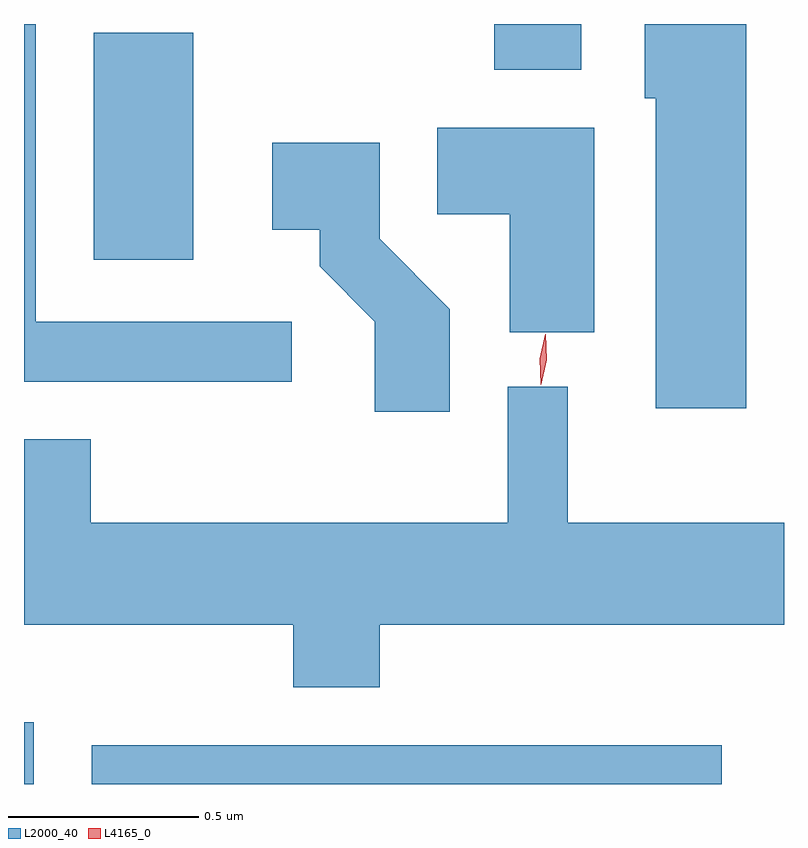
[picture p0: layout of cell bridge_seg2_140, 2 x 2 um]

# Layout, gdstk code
import gdstk
lib = gdstk.Library(unit=1e-6, precision=1e-09)
def R(c, l, rs):  # rectangles x0, y0, x1, y1
    for r in rs: c.add(gdstk.rectangle(r[:2], r[2:], *l))
def P(c, l, *ps):  # polygons
    for p in ps: c.add(gdstk.Polygon(p, *l))
L2000_40 = (2000, 40)
L4165_0 = (4165, 0)

bridge_seg2_140 = lib.new_cell('bridge_seg2_140')
R(bridge_seg2_140, L2000_40, [(976.203,1107.837,976.229,1107.999), (976.381,1107.837,978.039,1107.939), (976.386,1109.216,976.649,1109.814), (977.441,1109.716,977.669,1109.837)])
P(bridge_seg2_140, L2000_40, [(976.908,1109.054),(976.234,1109.054),(976.234,1109.837),(976.203,1109.837),(976.203,1108.896),(976.908,1108.896)],
  [(978.104,1109.837),(977.836,1109.837),(977.836,1109.641),(977.866,1109.641),(977.866,1108.826),(978.104,1108.826)],
  [(977.704,1109.564),(977.291,1109.564),(977.291,1109.336),(977.481,1109.336),(977.481,1109.026),(977.704,1109.026)],
  [(977.324,1109.087),(977.139,1109.272),(977.139,1109.524),(976.856,1109.524),(976.856,1109.296),(976.981,1109.296),(976.981,1109.199),(977.126,1109.054),(977.126,1108.816),(977.324,1108.816)],
  [(977.139,1108.256),(978.203,1108.256),(978.203,1108.524),(977.634,1108.524),(977.634,1108.883),(977.476,1108.883),(977.476,1108.524),(976.379,1108.524),(976.379,1108.744),(976.203,1108.744),(976.203,1108.256),(976.911,1108.256),(976.911,1108.091),(977.139,1108.091)])
P(bridge_seg2_140, L4165_0, [(977.563,1108.888),(977.563,1108.889),(977.56,1108.956),(977.575,1109.02),(977.576,1109.021),(977.576,1109.02),(977.579,1108.954),(977.564,1108.889)])

lib.write_gds('bridge_seg2_140.gds')
